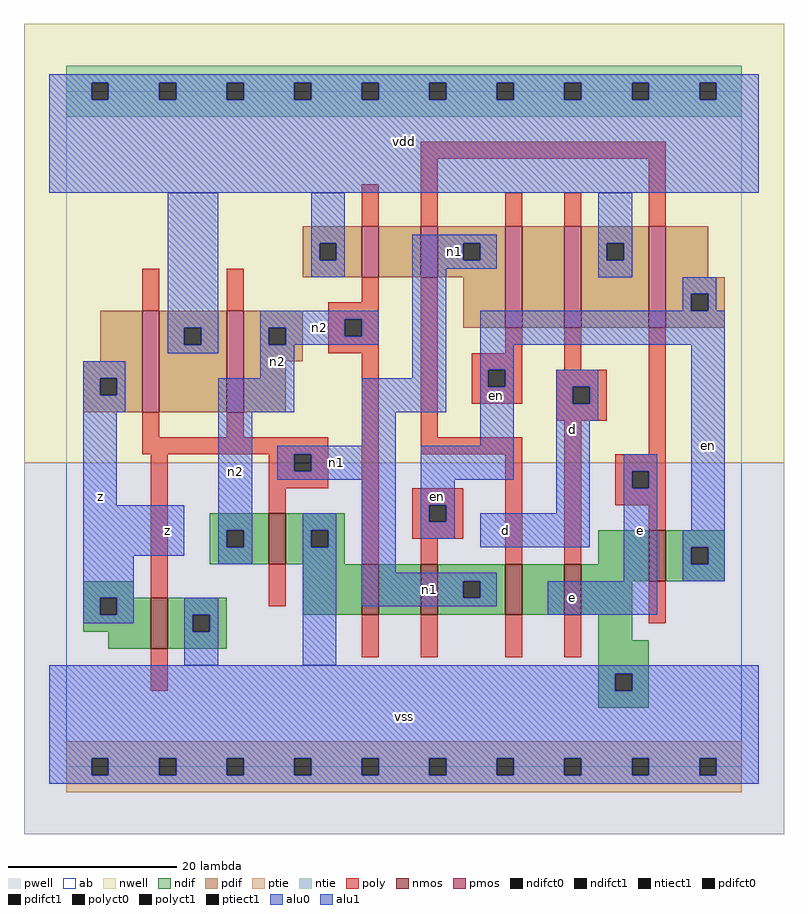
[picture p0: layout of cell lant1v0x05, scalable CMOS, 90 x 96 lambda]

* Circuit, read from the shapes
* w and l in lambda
.subckt lant1v0x05 d e en n1 n2 vdd vss z
M1 vss n1 z vss nfet w=6 l=2
M2 vss n1 n2 vss nfet w=6 l=2
M3 n3 n2 vss vss nfet w=6 l=2
M4 n1 en n3 vss nfet w=6 l=2
M5 n4 e n1 vss nfet w=6 l=2
M6 vss d n4 vss nfet w=6 l=2
M7 en e vss vss nfet w=6 l=2
M8 vdd n1 z vdd pfet w=12 l=2
M9 n2 n1 vdd vdd pfet w=12 l=2
M10 n5 n2 vdd vdd pfet w=6 l=2
M11 n1 e n5 vdd pfet w=6 l=2
M12 n6 en n1 vdd pfet w=12 l=2
M13 vdd d n6 vdd pfet w=12 l=2
M14 en e vdd vdd pfet w=12 l=2
.ends

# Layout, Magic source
magic
tech scmos
<< ab >>
rect 0 0 80 80
<< nwell >>
rect -5 36 85 88
<< pwell >>
rect -5 -8 85 36
<< poly >>
rect 42 72 71 74
rect 35 64 37 69
rect 42 64 44 72
rect 52 64 54 68
rect 59 64 61 68
rect 69 64 71 72
rect 9 54 11 59
rect 19 54 21 59
rect 35 55 37 58
rect 31 53 37 55
rect 31 51 33 53
rect 35 51 37 53
rect 31 49 37 51
rect 9 39 11 42
rect 19 39 21 42
rect 9 37 31 39
rect 10 20 12 37
rect 24 35 27 37
rect 29 35 31 37
rect 24 33 31 35
rect 24 30 26 33
rect 35 24 37 49
rect 42 39 44 58
rect 52 49 54 52
rect 48 47 54 49
rect 59 47 61 52
rect 48 45 50 47
rect 52 45 54 47
rect 48 43 54 45
rect 58 45 64 47
rect 58 43 60 45
rect 62 43 64 45
rect 58 41 64 43
rect 42 37 54 39
rect 41 31 47 33
rect 41 29 43 31
rect 45 29 47 31
rect 41 27 47 29
rect 42 24 44 27
rect 52 24 54 37
rect 59 24 61 41
rect 69 37 71 52
rect 65 35 71 37
rect 65 33 67 35
rect 69 33 71 35
rect 65 31 71 33
rect 69 28 71 31
rect 24 19 26 24
rect 10 9 12 14
rect 35 13 37 18
rect 42 13 44 18
rect 52 13 54 18
rect 59 13 61 18
rect 69 17 71 22
<< ndif >>
rect 2 20 8 22
rect 17 28 24 30
rect 17 26 19 28
rect 21 26 24 28
rect 17 24 24 26
rect 26 28 33 30
rect 26 26 29 28
rect 31 26 33 28
rect 26 24 33 26
rect 63 24 69 28
rect 2 18 4 20
rect 6 18 10 20
rect 2 16 10 18
rect 5 14 10 16
rect 12 18 19 20
rect 28 18 35 24
rect 37 18 42 24
rect 44 22 52 24
rect 44 20 47 22
rect 49 20 52 22
rect 44 18 52 20
rect 54 18 59 24
rect 61 22 69 24
rect 71 26 78 28
rect 71 24 74 26
rect 76 24 78 26
rect 71 22 78 24
rect 61 18 67 22
rect 12 16 15 18
rect 17 16 19 18
rect 12 14 19 16
rect 63 15 67 18
rect 63 11 69 15
rect 63 9 65 11
rect 67 9 69 11
rect 63 7 69 9
<< pdif >>
rect 28 62 35 64
rect 28 60 30 62
rect 32 60 35 62
rect 28 58 35 60
rect 37 58 42 64
rect 44 62 52 64
rect 44 60 47 62
rect 49 60 52 62
rect 44 58 52 60
rect 4 48 9 54
rect 2 46 9 48
rect 2 44 4 46
rect 6 44 9 46
rect 2 42 9 44
rect 11 52 19 54
rect 11 50 14 52
rect 16 50 19 52
rect 11 42 19 50
rect 21 52 28 54
rect 21 50 24 52
rect 26 50 28 52
rect 21 48 28 50
rect 21 42 26 48
rect 47 52 52 58
rect 54 52 59 64
rect 61 62 69 64
rect 61 60 64 62
rect 66 60 69 62
rect 61 52 69 60
rect 71 58 76 64
rect 71 56 78 58
rect 71 54 74 56
rect 76 54 78 56
rect 71 52 78 54
<< alu1 >>
rect -2 81 82 82
rect -2 79 3 81
rect 5 79 11 81
rect 13 79 19 81
rect 21 79 27 81
rect 29 79 35 81
rect 37 79 43 81
rect 45 79 51 81
rect 53 79 59 81
rect 61 79 67 81
rect 69 79 75 81
rect 77 79 82 81
rect -2 68 82 79
rect 2 46 7 48
rect 2 44 4 46
rect 6 44 7 46
rect 2 42 7 44
rect 2 31 6 42
rect 2 25 14 31
rect 2 20 8 25
rect 2 18 4 20
rect 6 18 8 20
rect 2 17 8 18
rect 58 45 63 47
rect 58 43 60 45
rect 62 43 63 45
rect 58 41 63 43
rect 58 30 62 41
rect 49 26 62 30
rect 66 35 70 37
rect 66 33 67 35
rect 69 33 70 35
rect 66 22 70 33
rect 57 18 70 22
rect -2 11 82 12
rect -2 9 65 11
rect 67 9 82 11
rect -2 1 82 9
rect -2 -1 3 1
rect 5 -1 11 1
rect 13 -1 19 1
rect 21 -1 27 1
rect 29 -1 35 1
rect 37 -1 43 1
rect 45 -1 51 1
rect 53 -1 59 1
rect 61 -1 67 1
rect 69 -1 75 1
rect 77 -1 82 1
rect -2 -2 82 -1
<< ptie >>
rect 0 1 80 3
rect 0 -1 3 1
rect 5 -1 11 1
rect 13 -1 19 1
rect 21 -1 27 1
rect 29 -1 35 1
rect 37 -1 43 1
rect 45 -1 51 1
rect 53 -1 59 1
rect 61 -1 67 1
rect 69 -1 75 1
rect 77 -1 80 1
rect 0 -3 80 -1
<< ntie >>
rect 0 81 80 83
rect 0 79 3 81
rect 5 79 11 81
rect 13 79 19 81
rect 21 79 27 81
rect 29 79 35 81
rect 37 79 43 81
rect 45 79 51 81
rect 53 79 59 81
rect 61 79 67 81
rect 69 79 75 81
rect 77 79 80 81
rect 0 77 80 79
<< nmos >>
rect 24 24 26 30
rect 10 14 12 20
rect 35 18 37 24
rect 42 18 44 24
rect 52 18 54 24
rect 59 18 61 24
rect 69 22 71 28
<< pmos >>
rect 35 58 37 64
rect 42 58 44 64
rect 9 42 11 54
rect 19 42 21 54
rect 52 52 54 64
rect 59 52 61 64
rect 69 52 71 64
<< polyct0 >>
rect 33 51 35 53
rect 27 35 29 37
rect 50 45 52 47
rect 43 29 45 31
<< polyct1 >>
rect 60 43 62 45
rect 67 33 69 35
<< ndifct0 >>
rect 19 26 21 28
rect 29 26 31 28
rect 47 20 49 22
rect 74 24 76 26
rect 15 16 17 18
<< ndifct1 >>
rect 4 18 6 20
rect 65 9 67 11
<< ntiect1 >>
rect 3 79 5 81
rect 11 79 13 81
rect 19 79 21 81
rect 27 79 29 81
rect 35 79 37 81
rect 43 79 45 81
rect 51 79 53 81
rect 59 79 61 81
rect 67 79 69 81
rect 75 79 77 81
<< ptiect1 >>
rect 3 -1 5 1
rect 11 -1 13 1
rect 19 -1 21 1
rect 27 -1 29 1
rect 35 -1 37 1
rect 43 -1 45 1
rect 51 -1 53 1
rect 59 -1 61 1
rect 67 -1 69 1
rect 75 -1 77 1
<< pdifct0 >>
rect 30 60 32 62
rect 47 60 49 62
rect 14 50 16 52
rect 24 50 26 52
rect 64 60 66 62
rect 74 54 76 56
<< pdifct1 >>
rect 4 44 6 46
<< alu0 >>
rect 12 52 18 68
rect 29 62 33 68
rect 29 60 30 62
rect 32 60 33 62
rect 29 58 33 60
rect 41 62 51 63
rect 41 60 47 62
rect 49 60 51 62
rect 41 59 51 60
rect 63 62 67 68
rect 63 60 64 62
rect 66 60 67 62
rect 12 50 14 52
rect 16 50 18 52
rect 12 49 18 50
rect 23 53 37 54
rect 23 52 33 53
rect 23 50 24 52
rect 26 51 33 52
rect 35 51 37 53
rect 26 50 37 51
rect 23 46 27 50
rect 41 46 45 59
rect 63 58 67 60
rect 73 56 77 58
rect 73 54 74 56
rect 76 54 77 56
rect 18 42 27 46
rect 35 42 45 46
rect 49 50 78 54
rect 49 47 53 50
rect 49 45 50 47
rect 52 45 53 47
rect 18 28 22 42
rect 35 38 39 42
rect 49 38 53 45
rect 25 37 39 38
rect 25 35 27 37
rect 29 35 39 37
rect 25 34 39 35
rect 18 26 19 28
rect 21 26 22 28
rect 18 24 22 26
rect 28 28 32 30
rect 28 26 29 28
rect 31 26 32 28
rect 14 18 18 20
rect 14 16 15 18
rect 17 16 18 18
rect 14 12 18 16
rect 28 12 32 26
rect 35 23 39 34
rect 42 34 53 38
rect 42 31 46 34
rect 42 29 43 31
rect 45 29 46 31
rect 42 27 46 29
rect 35 22 51 23
rect 74 28 78 50
rect 73 26 78 28
rect 73 24 74 26
rect 76 24 78 26
rect 73 22 78 24
rect 35 20 47 22
rect 49 20 51 22
rect 35 19 51 20
<< labels >>
rlabel alu0 32 36 32 36 6 n1
rlabel alu0 25 48 25 48 6 n2
rlabel alu0 20 35 20 35 6 n2
rlabel alu0 30 52 30 52 6 n2
rlabel alu0 43 21 43 21 6 n1
rlabel alu0 44 32 44 32 6 en
rlabel alu0 51 44 51 44 6 en
rlabel alu0 46 61 46 61 6 n1
rlabel alu0 76 38 76 38 6 en
rlabel alu1 4 32 4 32 6 z
rlabel alu1 12 28 12 28 6 z
rlabel alu1 40 6 40 6 6 vss
rlabel alu1 52 28 52 28 6 d
rlabel alu1 40 74 40 74 6 vdd
rlabel alu1 60 20 60 20 6 e
rlabel alu1 68 28 68 28 6 e
rlabel alu1 60 40 60 40 6 d
<< end >>
